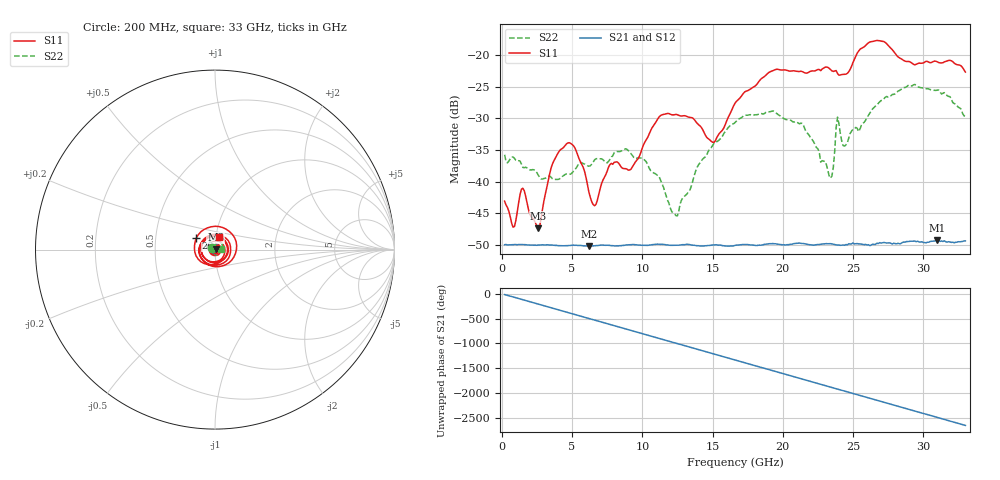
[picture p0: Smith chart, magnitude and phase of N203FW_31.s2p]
# GHZ S RI R 50
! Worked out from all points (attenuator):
!   329 points, 200 MHz to 33 GHz, reference 50 ohm
!   highest |S21| = -49.29 dB at 31 GHz (marker M1); lowest = -50.2 dB at 6.2 GHz (marker M2)
!   lowest |S11| = -47.4 dB at 2.6 GHz (marker M3), VSWR 1.01, Z = 50.4 + j0.106 ohm
!   |S11| at or under -10 dB: start of sweep to end of sweep
!   |S22| runs from -45.4 to -24.6 dB; largest |S21 - S12| = 8.8e-05
!   S11 on the Smith chart (normalised r, x): 200 MHz: 1.01, +0.01; 26 GHz: 0.81, +0.10; 33 GHz: 1.03, +0.15
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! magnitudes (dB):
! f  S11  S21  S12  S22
! 200 MHz  -43.1  -50.0  -49.9  -35.7
! 900 MHz  -47.1  -49.9  -49.9  -36.3
! 1.5 GHz  -41.0  -49.9  -49.9  -37.8
! 2.6 GHz  -47.4  -50.0  -50.0  -39.0
! 4.1 GHz  -35.1  -50.1  -50.1  -39.6
! 5.7 GHz  -37.3  -50.1  -50.1  -37.0
! 6.2 GHz  -41.6  -50.2  -50.2  -37.6
! 6.6 GHz  -43.8  -50.1  -50.1  -36.6
! 8.8 GHz  -37.9  -50.0  -50.0  -34.8
! 11.2 GHz  -29.8  -49.9  -49.9  -39.2
! 12.5 GHz  -29.4  -50.1  -50.1  -45.4
! 15.1 GHz  -33.8  -50.0  -50.0  -34.0
! 16.6 GHz  -27.6  -50.1  -50.1  -30.7
! 19.3 GHz  -22.5  -49.8  -49.8  -28.8
! 22.1 GHz  -22.5  -50.0  -50.0  -33.4
! 23.4 GHz  -22.3  -49.8  -49.8  -39.5
! 23.9 GHz  -22.9  -50.0  -50.0  -29.8
! 24.4 GHz  -23.0  -50.1  -50.0  -34.4
! 26 GHz  -18.3  -50.0  -50.0  -29.9
! 27.6 GHz  -18.7  -49.7  -49.7  -26.6
! 31 GHz  -21.1  -49.3  -49.3  -25.5
! 33 GHz  -22.7  -49.4  -49.4  -29.7
